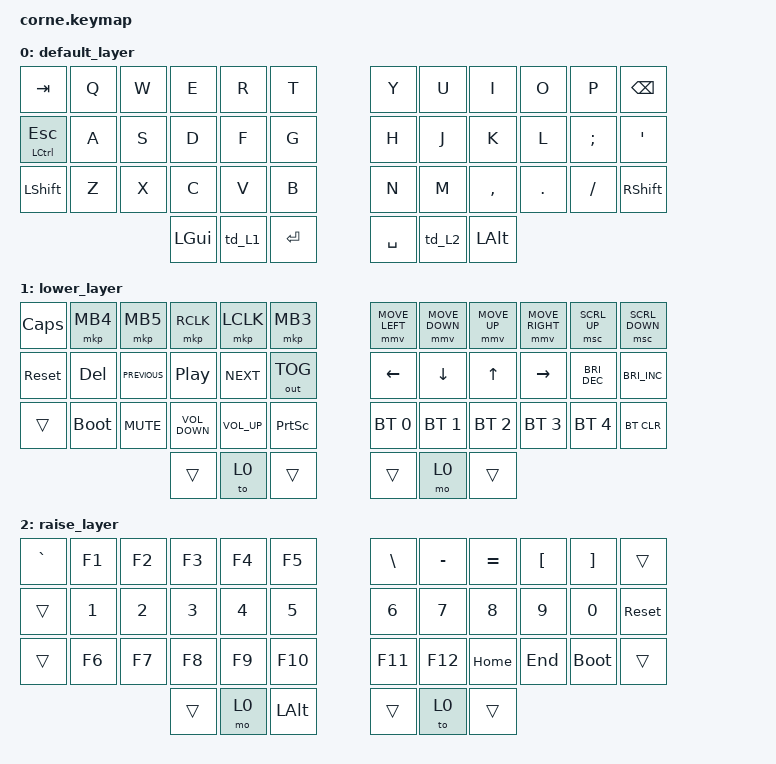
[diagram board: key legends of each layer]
/*
 * Copyright (c) 2020 The ZMK Contributors
 *
 * SPDX-License-Identifier: MIT
 */

#include <behaviors.dtsi>
#include <dt-bindings/zmk/bt.h>
#include <dt-bindings/zmk/keys.h>
#include <dt-bindings/zmk/outputs.h>
#include <dt-bindings/zmk/pointing.h>

/ {
    behaviors {
        ht: ht {
            compatible = "zmk,behavior-hold-tap";
            label = "HT";
            bindings = <&kp>, <&kp>;

            #binding-cells = <2>;
            tapping-term-ms = <200>;
            hold-while-undecided;
        };

        td_L1: td_L1 {
            compatible = "zmk,behavior-tap-dance";
            label = "TD_L1";
            #binding-cells = <0>;
            bindings = <&mo 1>, <&to 1>;

            tapping-term-ms = <150>;
        };

        td_L2: td_L2 {
            compatible = "zmk,behavior-tap-dance";
            label = "TD_L2";
            #binding-cells = <0>;
            bindings = <&mo 2>, <&to 2>;

            tapping-term-ms = <150>;
        };

        td_del_L1: td_del_L1 {
            compatible = "zmk,behavior-tap-dance";
            label = "TD_DEL_L1";
            #binding-cells = <0>;
            bindings = <&lt 1 DELETE>, <&to 1>;
        };
    };

    keymap {
        compatible = "zmk,keymap";

        default_layer {
            // -----------------------------------------------------------------------------------------
            // |  TAB |  Q  |  W  |  E  |  R  |  T  |   |  Y  |  U   |  I  |  O  |  P  | BSPC |
            // | CTRL |  A  |  S  |  D  |  F  |  G  |   |  H  |  J   |  K  |  L  |  ;  |  '   |
            // | SHFT |  Z  |  X  |  C  |  V  |  B  |   |  N  |  M   |  ,  |  .  |  /  | ESC  |
            //                    | GUI | LWR | SPC |   | ENT | RSE  | ALT |

            bindings = <
&kp TAB           &kp Q  &kp W  &kp E     &kp R   &kp T        &kp Y      &kp U   &kp I         &kp O    &kp P     &kp BSPC
&ht LCTRL ESCAPE  &kp A  &kp S  &kp D     &kp F   &kp G        &kp H      &kp J   &kp K         &kp L    &kp SEMI  &kp SQT
&kp LSHFT         &kp Z  &kp X  &kp C     &kp V   &kp B        &kp N      &kp M   &kp COMMA     &kp DOT  &kp FSLH  &kp RIGHT_SHIFT
                                &kp LGUI  &td_L1  &kp ENTER    &kp SPACE  &td_L2  &kp LEFT_ALT
            >;
        };

        lower_layer {
            // -----------------------------------------------------------------------------------------
            // |  TAB |  1  |  2  |  3  |  4  |  5  |   |  6  |  7  |  8  |  9  |  0  | BSPC |
            // | BTCLR| BT1 | BT2 | BT3 | BT4 | BT5 |   | LFT | DWN |  UP | RGT |     |      |
            // | SHFT |     |     |     |     |     |   |     |     |     |     |     |      |
            //                    | GUI |     | SPC |   | ENT |     | ALT |

            bindings = <
&kp CAPS    &mkp MB4     &mkp MB5        &mkp RCLK          &mkp LCLK        &mkp MB3           &mmv MOVE_LEFT  &mmv MOVE_DOWN  &mmv MOVE_UP  &mmv MOVE_RIGHT  &msc SCRL_UP          &msc SCRL_DOWN
&sys_reset  &kp DEL      &kp C_PREVIOUS  &kp C_PLAY_PAUSE   &kp C_NEXT       &out OUT_TOG       &kp LEFT        &kp DOWN        &kp UP        &kp RIGHT        &kp C_BRIGHTNESS_DEC  &kp C_BRIGHTNESS_INC
&trans      &bootloader  &kp C_MUTE      &kp C_VOLUME_DOWN  &kp C_VOLUME_UP  &kp PRINTSCREEN    &bt BT_SEL 0    &bt BT_SEL 1    &bt BT_SEL 2  &bt BT_SEL 3     &bt BT_SEL 4          &bt BT_CLR
                                         &trans             &to 0            &trans             &trans          &mo 0           &trans
            >;
        };

        raise_layer {
            // -----------------------------------------------------------------------------------------
            // |  TAB |  !  |  @  |  #  |  $  |  %  |   |  ^  |  &  |  *  |  (  |  )  | BSPC |
            // | CTRL |     |     |     |     |     |   |  -  |  =  |  [  |  ]  |  \  |  `   |
            // | SHFT |     |     |     |     |     |   |  _  |  +  |  {  |  }  | "|" |  ~   |
            //                    | GUI |     | SPC |   | ENT |     | ALT |

            bindings = <
&kp GRAVE  &kp F1        &kp F2        &kp F3  &kp F4  &kp F5          &kp BSLH  &kp MINUS  &kp EQUAL  &kp LBKT  &kp RBKT     &trans
&trans     &kp NUMBER_1  &kp NUMBER_2  &kp N3  &kp N4  &kp N5          &kp N6    &kp N7     &kp N8     &kp N9    &kp N0       &sys_reset
&trans     &kp F6        &kp F7        &kp F8  &kp F9  &kp F10         &kp F11   &kp F12    &kp HOME   &kp END   &bootloader  &trans
                                       &trans  &mo 0   &kp LEFT_ALT    &trans    &to 0      &trans
            >;
        };
    };
};
